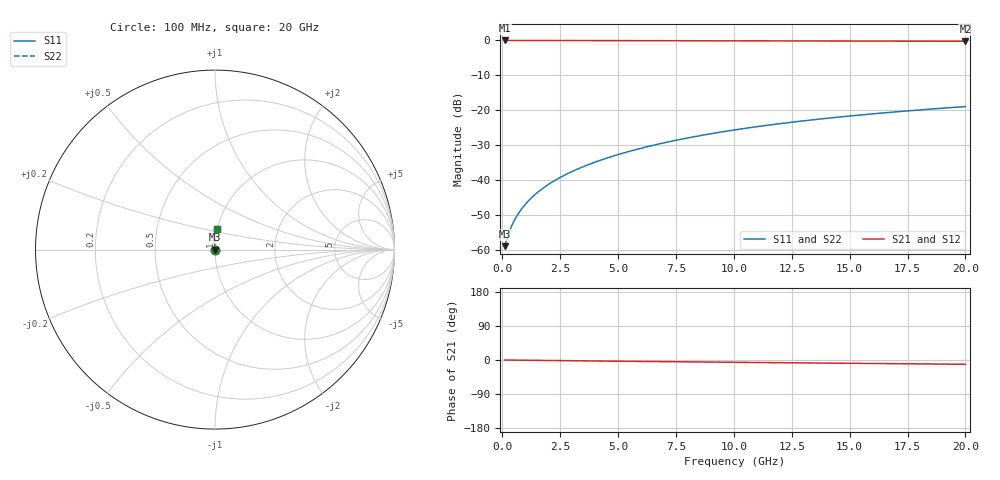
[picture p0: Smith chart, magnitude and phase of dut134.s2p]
! Touchstone file exported from HFSS 2024.1.0
!  File:  C:/UserFiles/LocalFiles/RDL_TSV_Batchsim/temp_RDL_top_134_1778684501.aedt
!  Generated:  11:03:50 PM May 13, 2026
!  Design:  RDL_top
!  Project:  temp_RDL_top_134_1778684501
!  Setup:  Setup1
!  Solution:  Sweep
! Variables:
!  dtsv = 10.80580581um
!  hbump = 3um
!  htsv = 94.17um
!  ldown = 100um
!  lrdl = 138.39um
!  p = 40
!  p1 = 49.99um
!  rhole = 1um
!  t = 450um
!  tdown = 3.915915916um
!  trdl = 2.61um
!  wdown = 15.38538539um
!  wrdl = 29.74um
# GHz S MA R 50.000000
! Terminal data exported
! Port[1] = Box2_T1
! Port[2] = Box2_T2
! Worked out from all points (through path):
!   200 points, 100 MHz to 20 GHz, reference 50 ohm
!   highest |S21| = -0.01 dB at 100 MHz (marker M1); lowest = -0.2 dB at 20 GHz (marker M2)
!   group delay of S21, straight-line fit = 1.55 ps
!   lowest |S11| = -59.0 dB at 100 MHz (marker M3), VSWR 1.00, Z = 50.1 + j0.0496 ohm
!   |S11| at or under -10 dB: start of sweep to end of sweep
!   |S22| runs from -59.0 to -19.0 dB; largest |S21 - S12| = 2.1e-15
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0.1  0.001117 26.3  0.999 -0.1  0.999 -0.1  0.001117 26.3
! Gamma 0 0 0 0
! Port Impedance 50 0 50 0
0.3  0.001786 52.6  0.9989 -0.2  0.9989 -0.2  0.001786 52.6
0.4  0.002163 58.7  0.9988 -0.3  0.9988 -0.3  0.002163 58.7
0.5  0.002541 63.1  0.9987 -0.3  0.9987 -0.3  0.002541 63.1
0.6  0.002921 66.5  0.9987 -0.4  0.9987 -0.4  0.002921 66.5
0.8  0.00369 71.6  0.9986 -0.5  0.9986 -0.5  0.00369 71.6
1  0.004474 75.3  0.9985 -0.7  0.9985 -0.7  0.004474 75.3
1.2  0.005275 78.1  0.9983 -0.8  0.9983 -0.8  0.005275 78.1
1.7  0.007342 82.9  0.998 -1.1  0.998 -1.1  0.007342 82.9
2.2  0.009491 86.1  0.9975 -1.5  0.9975 -1.5  0.009491 86.1
2.8  0.01218 88.7  0.9969 -1.9  0.9969 -1.9  0.01218 88.7
3.5  0.01546 90.8  0.996 -2.3  0.996 -2.3  0.01546 90.8
4.2  0.0189 92.2  0.995 -2.7  0.995 -2.7  0.0189 92.2
5  0.02302 93.3  0.9938 -3.2  0.9938 -3.2  0.02302 93.3
5.9  0.02787 93.9  0.9923 -3.8  0.9923 -3.8  0.02787 93.9
6.8  0.03291 94.2  0.9908 -4.3  0.9908 -4.3  0.03291 94.2
8.4  0.04222 93.9  0.9882 -5.2  0.9882 -5.2  0.04222 93.9
10.1  0.05241 93.1  0.9855 -6.1  0.9855 -6.1  0.05241 93.1
11.7  0.06215 92.0  0.9832 -7.0  0.9832 -7.0  0.06215 92.0
13.4  0.07254 90.8  0.9808 -7.9  0.9808 -7.9  0.07254 90.8
16.7  0.09265 88.2  0.9766 -9.6  0.9766 -9.6  0.09265 88.2
20  0.1125 85.7  0.9727 -11.3  0.9727 -11.3  0.1125 85.7
